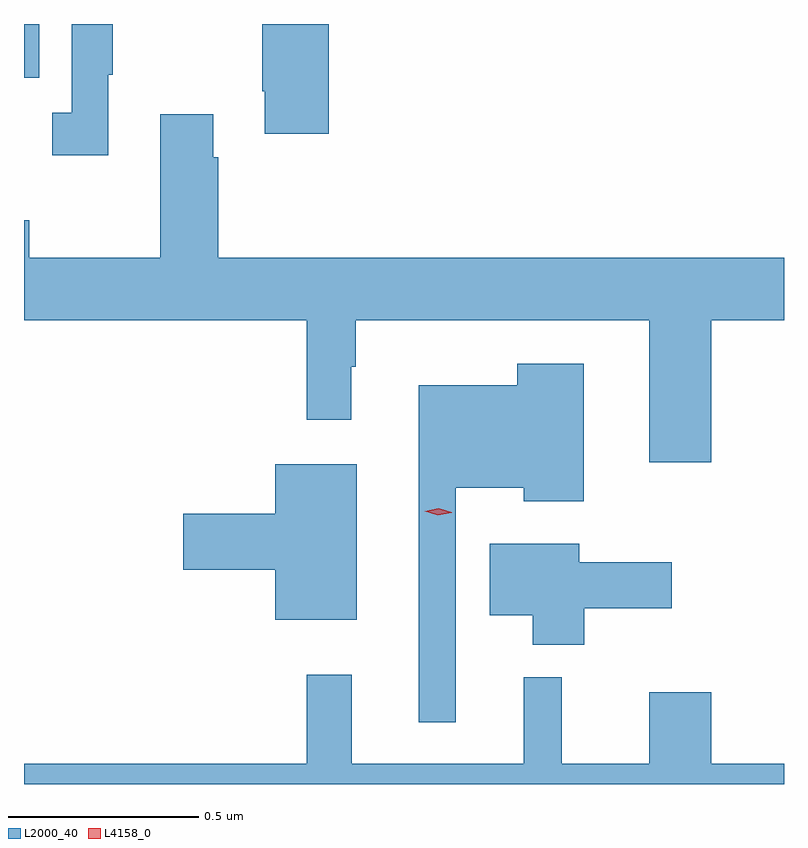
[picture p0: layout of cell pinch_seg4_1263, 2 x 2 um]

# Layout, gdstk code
import gdstk
lib = gdstk.Library(unit=1e-6, precision=1e-09)
def R(c, l, rs):  # rectangles x0, y0, x1, y1
    for r in rs: c.add(gdstk.rectangle(r[:2], r[2:], *l))
def P(c, l, *ps):  # polygons
    for p in ps: c.add(gdstk.Polygon(p, *l))
L2000_40 = (2000, 40)
L4158_0 = (4158, 0)

pinch_seg4_1263 = lib.new_cell('pinch_seg4_1263')
R(pinch_seg4_1263, L2000_40, [(199.327,821.434,199.367,821.575)])
P(pinch_seg4_1263, L2000_40, [(199.549,821.441),(199.561,821.441),(199.561,821.575),(199.452,821.575),(199.452,821.342),(199.401,821.342),(199.401,821.229),(199.549,821.229)],
  [(200.129,821.575),(199.954,821.575),(199.954,821.398),(199.961,821.398),(199.961,821.286),(200.129,821.286)],
  [(201.136,820.796),(201.327,820.796),(201.327,820.96),(199.838,820.96),(199.838,821.225),(199.825,821.225),(199.825,821.338),(199.685,821.338),(199.685,820.96),(199.341,820.96),(199.341,821.059),(199.327,821.059),(199.327,820.796),(200.071,820.796),(200.071,820.533),(200.188,820.533),(200.188,820.673),(200.2,820.673),(200.2,820.796),(200.972,820.796),(200.972,820.422),(201.136,820.422)],
  [(200.463,820.355),(200.642,820.355),(200.642,820.319),(200.8,820.319),(200.8,820.681),(200.625,820.681),(200.625,820.624),(200.366,820.624),(200.366,819.738),(200.463,819.738)],
  [(200.203,820.417),(199.988,820.417),(199.988,820.286),(199.746,820.286),(199.746,820.139),(199.988,820.139),(199.988,820.007),(200.203,820.007)],
  [(200.801,820.037),(201.031,820.037),(201.031,820.159),(200.788,820.159),(200.788,820.207),(200.552,820.207),(200.552,820.019),(200.666,820.019),(200.666,819.941),(200.801,819.941)],
  [(201.327,819.628),(201.136,819.628),(201.136,819.817),(200.972,819.817),(200.972,819.628),(200.742,819.628),(200.742,819.856),(200.642,819.856),(200.642,819.628),(200.189,819.628),(200.189,819.862),(200.071,819.862),(200.071,819.628),(199.327,819.628),(199.327,819.575),(201.327,819.575)])
P(pinch_seg4_1263, L4158_0, [(200.416,820.282),(200.382,820.293),(200.381,820.293),(200.382,820.293),(200.418,820.301),(200.452,820.29),(200.453,820.29),(200.452,820.289)])

lib.write_gds('pinch_seg4_1263.gds')
